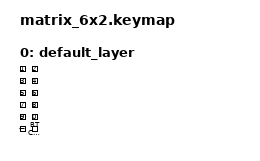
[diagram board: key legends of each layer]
// This file was generated from a template. Edit it to match your keyboard.
// See https://zmk.dev/docs/development/hardware-integration/new-shield for more instructions.

#include <behaviors.dtsi>
#include <dt-bindings/zmk/keys.h>
#include <dt-bindings/zmk/bt.h>


/ {
    // Define a default keymap here.
    // See https://zmk.dev/docs/development/hardware-integration/new-shield#default-keymap.
    keymap {
        compatible = "zmk,keymap";

        default_layer {
           bindings = <
                &kp N1   &kp N2
                &kp N3   &kp N4
                &kp N5   &kp N6
                &kp N7   &kp N8
                &kp N9   &kp N0
                &kp LEFT &bt BT_CLR
            >;
        };
    };
};
